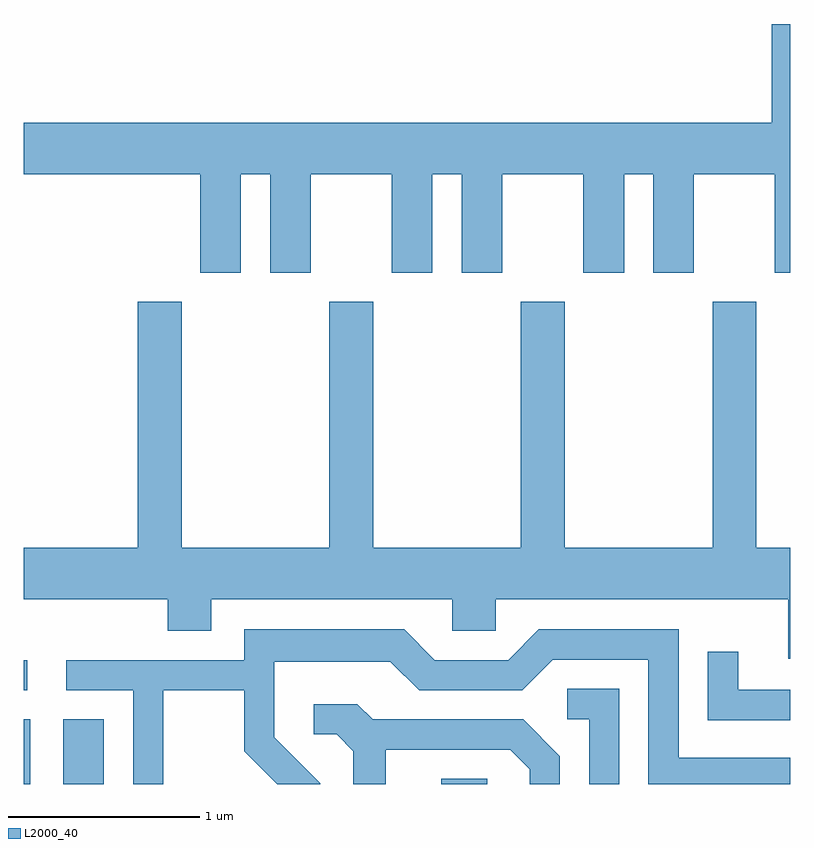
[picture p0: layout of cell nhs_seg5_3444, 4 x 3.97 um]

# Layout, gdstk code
import gdstk
lib = gdstk.Library(unit=1e-6, precision=1e-09)
def R(c, l, rs):  # rectangles x0, y0, x1, y1
    for r in rs: c.add(gdstk.rectangle(r[:2], r[2:], *l))
def P(c, l, *ps):  # polygons
    for p in ps: c.add(gdstk.Polygon(p, *l))
L2000_40 = (2000, 40)

nhs_seg5_3444 = lib.new_cell('nhs_seg5_3444')
R(nhs_seg5_3444, L2000_40, [(287.611,1438.072,287.644,1438.409), (287.816,1438.072,288.029,1438.409), (289.791,1438.072,290.029,1438.099), (287.611,1438.561,287.628,1438.719)])
P(nhs_seg5_3444, L2000_40, [(288.744,1441.256),(288.896,1441.256),(288.896,1440.741),(289.109,1440.741),(289.109,1441.256),(289.531,1441.256),(289.531,1440.741),(289.744,1440.741),(289.744,1441.256),(289.896,1441.256),(289.896,1440.741),(290.109,1440.741),(290.109,1441.256),(290.531,1441.256),(290.531,1440.741),(290.744,1440.741),(290.744,1441.256),(290.896,1441.256),(290.896,1440.741),(291.109,1440.741),(291.109,1441.256),(291.531,1441.256),(291.531,1440.741),(291.611,1440.741),(291.611,1442.039),(291.516,1442.039),(291.516,1441.524),(287.611,1441.524),(287.611,1441.256),(288.531,1441.256),(288.531,1440.741),(288.744,1440.741)],
  [(291.611,1439.304),(291.434,1439.304),(291.434,1440.589),(291.206,1440.589),(291.206,1439.304),(290.434,1439.304),(290.434,1440.589),(290.206,1440.589),(290.206,1439.304),(289.434,1439.304),(289.434,1440.589),(289.206,1440.589),(289.206,1439.304),(288.434,1439.304),(288.434,1440.589),(288.206,1440.589),(288.206,1439.304),(287.611,1439.304),(287.611,1439.036),(288.361,1439.036),(288.361,1438.871),(288.589,1438.871),(288.589,1439.036),(289.846,1439.036),(289.846,1438.871),(290.074,1438.871),(290.074,1439.036),(291.601,1439.036),(291.601,1438.726),(291.611,1438.726)],
  [(288.339,1438.561),(288.761,1438.561),(288.761,1438.244),(288.933,1438.072),(289.159,1438.072),(289.159,1438.077),(288.919,1438.317),(288.919,1438.711),(289.524,1438.711),(289.674,1438.561),(290.212,1438.561),(290.372,1438.721),(290.871,1438.721),(290.871,1438.072),(291.611,1438.072),(291.611,1438.209),(291.029,1438.209),(291.029,1438.879),(290.299,1438.879),(290.139,1438.719),(289.757,1438.719),(289.597,1438.879),(288.761,1438.879),(288.761,1438.719),(287.833,1438.719),(287.833,1438.561),(288.181,1438.561),(288.181,1438.072),(288.339,1438.072)],
  [(291.611,1438.564),(291.339,1438.564),(291.339,1438.763),(291.181,1438.763),(291.181,1438.406),(291.611,1438.406)],
  [(290.719,1438.569),(290.448,1438.569),(290.448,1438.411),(290.561,1438.411),(290.561,1438.072),(290.719,1438.072)],
  [(289.499,1438.251),(290.149,1438.251),(290.251,1438.149),(290.251,1438.072),(290.409,1438.072),(290.409,1438.217),(290.217,1438.409),(289.432,1438.409),(289.352,1438.489),(289.123,1438.489),(289.123,1438.331),(289.244,1438.331),(289.331,1438.244),(289.331,1438.072),(289.499,1438.072)])

lib.write_gds('nhs_seg5_3444.gds')
